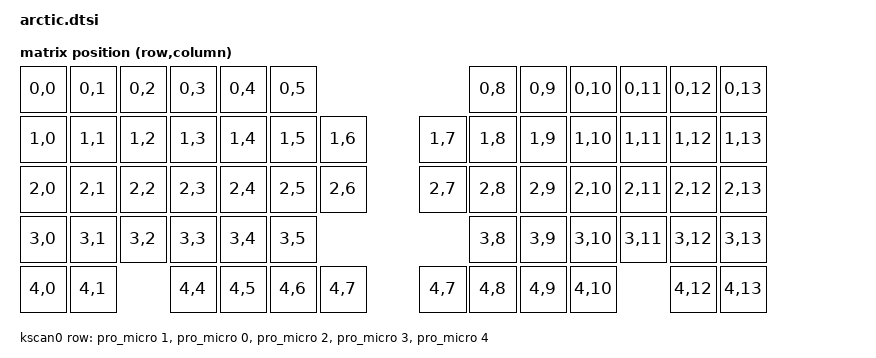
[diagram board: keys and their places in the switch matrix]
#include <dt-bindings/zmk/matrix_transform.h>

/ {
    chosen {
        zmk,kscan = &kscan0;
        zmk,matrix_transform = &default_transform;
    };

    kscan0: kscan {
        compatible = "zmk,kscan-gpio-matrix";
        diode-direction = "col2row";
        wakeup-source;

        row-gpios
            = <&pro_micro 1 (GPIO_ACTIVE_HIGH | GPIO_PULL_DOWN)>
            , <&pro_micro 0 (GPIO_ACTIVE_HIGH | GPIO_PULL_DOWN)>
            , <&pro_micro 2 (GPIO_ACTIVE_HIGH | GPIO_PULL_DOWN)>
            , <&pro_micro 3 (GPIO_ACTIVE_HIGH | GPIO_PULL_DOWN)>
            , <&pro_micro 4 (GPIO_ACTIVE_HIGH | GPIO_PULL_DOWN)>
            ;

    };

    default_transform: keymap_transform0 {
        compatible = "zmk,matrix-transform";
        columns = <14>;
        rows = <5>;
        map = <
        //  LKey 1 |LKey 2 |LKey 3 |LKey 4 |LKey 5 |LKey 6                  //          RKey 1  |RKey 2  |RKey 3  |RKey 4  |RKey 5  |RKey 6
            RC(0,0) RC(0,1) RC(0,2) RC(0,3) RC(0,4) RC(0,5)                             RC(0,8)  RC(0,9)  RC(0,10) RC(0,11) RC(0,12) RC(0,13)
        //  LKey 7 |LKey 8 |LKey 9 |LKey 10|LKey 11|LKey 12|LKey 13         // RKey 7  |RKey 8  |RKey 9  |RKey 10 |RKey 11 |RKey 12  |RKey 13
            RC(1,0) RC(1,1) RC(1,2) RC(1,3) RC(1,4) RC(1,5) RC(1,6)            RC(1,7)  RC(1,8)  RC(1,9)  RC(1,10) RC(1,11) RC(1,12) RC(1,13)
        //  LKey 14|LKey 15|LKey 16|RKey 17|RKey 18|RKey 19|RKey 20         // RKey 14 |RKey 15 |RKey 16 |RKey 17 |RKey 18 |RKey 19 |RKey 20
            RC(2,0) RC(2,1) RC(2,2) RC(2,3) RC(2,4) RC(2,5) RC(2,6)            RC(2,7)  RC(2,8)  RC(2,9)  RC(2,10) RC(2,11) RC(2,12) RC(2,13)
        //  LKey 21|LKey 22|LKey 23|RKey 24|RKey 25|RKey 26                 //          RKey 21 |RKey 22 |RKey 23 |RKey 24 |RKey 25 |RKey 26
            RC(3,0) RC(3,1) RC(3,2) RC(3,3) RC(3,4) RC(3,5)                             RC(3,8)  RC(3,9)  RC(3,10) RC(3,11) RC(3,12) RC(3,13)
        //  LKey 27|LKey 28|       |RKey 29|RKey 30|RKey 31|RKey 32         // RKey 27 |RKey 28 |RKey 29 |RKey 30 |         RKey 31 |RKey 32
            RC(4,0) RC(4,1)         RC(4,4) RC(4,5) RC(4,6) RC(4,7)            RC(4,7)  RC(4,8)  RC(4,9)  RC(4,10)          RC(4,12) RC(4,13)
        >;
    };
};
